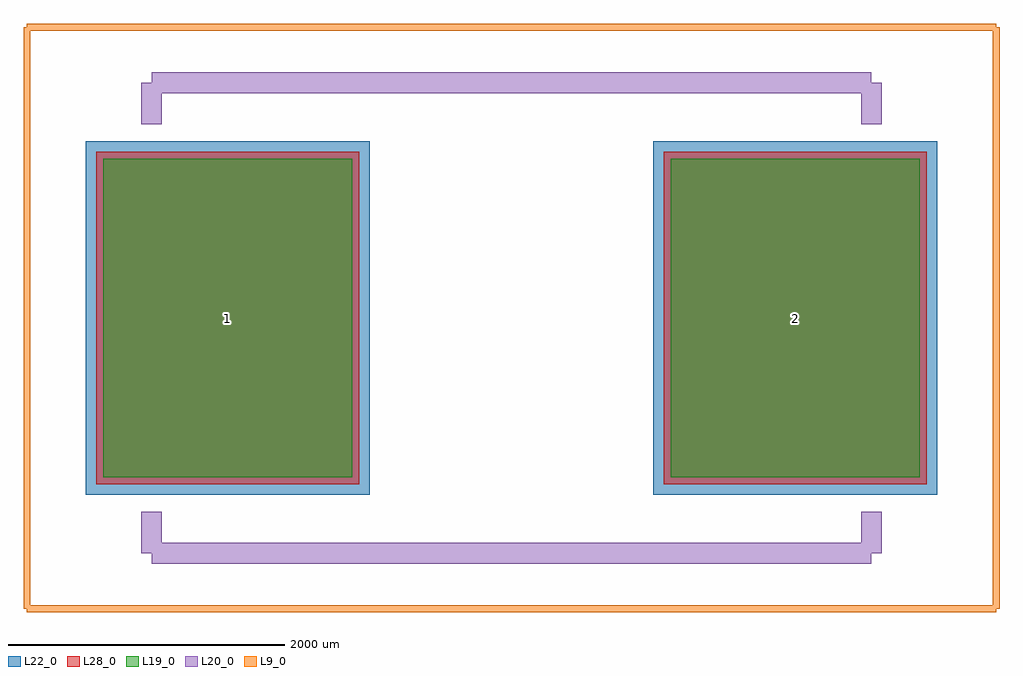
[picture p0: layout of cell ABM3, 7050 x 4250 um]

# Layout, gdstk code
import gdstk
lib = gdstk.Library(unit=1e-6, precision=1e-09)
def R(c, l, rs):  # rectangles x0, y0, x1, y1
    for r in rs: c.add(gdstk.rectangle(r[:2], r[2:], *l))
L9_0 = (9, 0)
L19_0 = (19, 0)
L20_0 = (20, 0)
L22_0 = (22, 0)
L28_0 = (28, 0)

abm3 = lib.new_cell('ABM3')
R(abm3, L19_0, [(-2950,-1150,-1150,1150), (1150,-1150,2950,1150)])
R(abm3, L22_0, [(-3075,-1275,-1025,1275), (1025,-1275,3075,1275)])
R(abm3, L28_0, [(-3000,-1200,-1100,1200), (1100,-1200,3000,1200)])
abm3.add(gdstk.FlexPath([(-2600,-1700),(2600,-1700)], 149.998, ends="flush", simple_path=True, layer=20, datatype=0))  # L20_0
abm3.add(gdstk.FlexPath([(-2600,1700),(2600,1700)], 149.998, ends="flush", simple_path=True, layer=20, datatype=0))  # L20_0
abm3.add(gdstk.FlexPath([(2600,1700),(2600,1400)], 149.998, ends="flush", simple_path=True, layer=20, datatype=0))  # L20_0
abm3.add(gdstk.FlexPath([(-2600,1700),(-2600,1400)], 149.998, ends="flush", simple_path=True, layer=20, datatype=0))  # L20_0
abm3.add(gdstk.FlexPath([(-2600,-1700),(-2600,-1400)], 149.998, ends="flush", simple_path=True, layer=20, datatype=0))  # L20_0
abm3.add(gdstk.FlexPath([(2600,-1700),(2600,-1400)], 149.998, ends="flush", simple_path=True, layer=20, datatype=0))  # L20_0
abm3.add(gdstk.FlexPath([(-3500,2100),(3500,2100)], 50, ends="flush", simple_path=True, layer=9, datatype=0))  # L9_0
abm3.add(gdstk.FlexPath([(3500,2100),(3500,-2100)], 50, ends="flush", simple_path=True, layer=9, datatype=0))  # L9_0
abm3.add(gdstk.FlexPath([(3500,-2100),(-3500,-2100)], 50, ends="flush", simple_path=True, layer=9, datatype=0))  # L9_0
abm3.add(gdstk.FlexPath([(-3500,-2100),(-3500,2100)], 50, ends="flush", simple_path=True, layer=9, datatype=0))  # L9_0
abm3.add(gdstk.Label('1', (-2050,0), layer=28, texttype=0))
abm3.add(gdstk.Label('2', (2050,0), layer=28, texttype=0))
abm3.add(gdstk.Label('type', (0,-3000), layer=9, texttype=0))
abm3.add(gdstk.Label('devicename', (0,3000), layer=9, texttype=0))

lib.write_gds('ABM3.gds')
